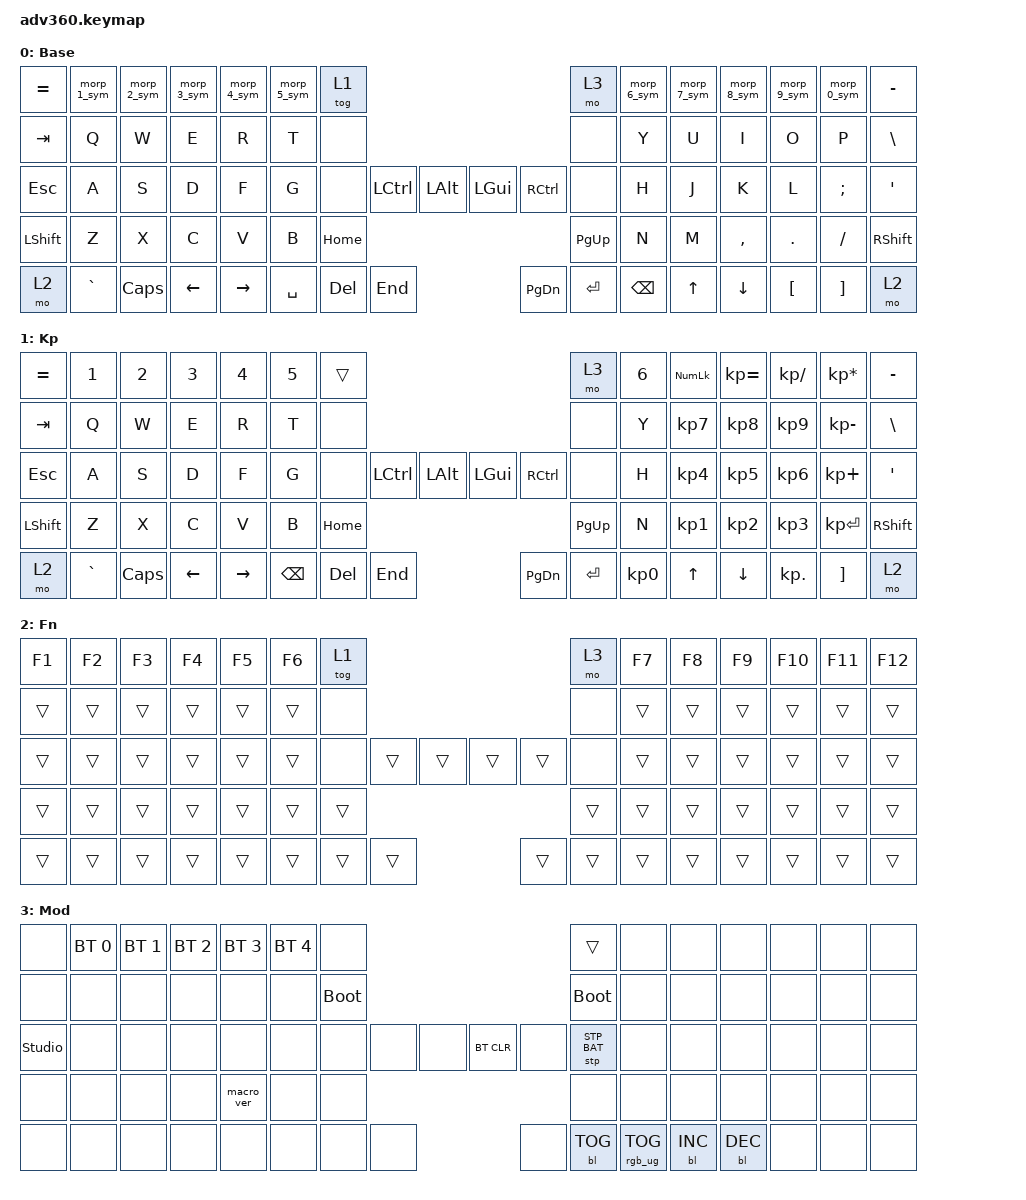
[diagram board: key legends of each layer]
#include <behaviors.dtsi>
#include <dt-bindings/zmk/keys.h>
#include <dt-bindings/zmk/bt.h>
#include <dt-bindings/zmk/rgb.h>
#include <dt-bindings/zmk/stp.h>
#include <dt-bindings/zmk/backlight.h>
#include <dt-bindings/zmk/pointing.h>

/ {
    behaviors {
      #include "macros.dtsi"
      #include "version.dtsi"

      hm: homerow_mods {
          compatible = "zmk,behavior-hold-tap";
          label = "HOMEROW_MODS";
          #binding-cells = <2>;
          tapping-term-ms = <200>;
          quick_tap_ms = <175>;
          flavor = "tap-preferred";
          bindings = <&kp>, <&kp>;
      };

      // --- Modern mod-morph behaviors for swapping symbols and numbers ---
      morp_1_sym: morp_1_sym {
          compatible = "zmk,behavior-mod-morph";
          #binding-cells = <0>;
          bindings = <&kp EXCLAMATION>, <&kp N1>;
          mods = <(MOD_LSFT | MOD_RSFT)>;
      };
      morp_2_sym: morp_2_sym {
          compatible = "zmk,behavior-mod-morph";
          #binding-cells = <0>;
          bindings = <&kp AT>, <&kp N2>;
          mods = <(MOD_LSFT | MOD_RSFT)>;
      };
      morp_3_sym: morp_3_sym {
          compatible = "zmk,behavior-mod-morph";
          #binding-cells = <0>;
          bindings = <&kp HASH>, <&kp N3>;
          mods = <(MOD_LSFT | MOD_RSFT)>;
      };
      morp_4_sym: morp_4_sym {
          compatible = "zmk,behavior-mod-morph";
          #binding-cells = <0>;
          bindings = <&kp DLLR>, <&kp N4>;
          mods = <(MOD_LSFT | MOD_RSFT)>;
      };
      morp_5_sym: morp_5_sym {
          compatible = "zmk,behavior-mod-morph";
          #binding-cells = <0>;
          bindings = <&kp PERCENT>, <&kp N5>;
          mods = <(MOD_LSFT | MOD_RSFT)>;
      };
      morp_6_sym: morp_6_sym {
          compatible = "zmk,behavior-mod-morph";
          #binding-cells = <0>;
          bindings = <&kp CARET>, <&kp N6>;
          mods = <(MOD_LSFT | MOD_RSFT)>;
      };
      morp_7_sym: morp_7_sym {
          compatible = "zmk,behavior-mod-morph";
          #binding-cells = <0>;
          bindings = <&kp AMPS>, <&kp N7>;
          mods = <(MOD_LSFT | MOD_RSFT)>;
      };
      morp_8_sym: morp_8_sym {
          compatible = "zmk,behavior-mod-morph";
          #binding-cells = <0>;
          bindings = <&kp STAR>, <&kp N8>;
          mods = <(MOD_LSFT | MOD_RSFT)>;
      };
      morp_9_sym: morp_9_sym {
          compatible = "zmk,behavior-mod-morph";
          #binding-cells = <0>;
          bindings = <&kp LPAR>, <&kp N9>;
          mods = <(MOD_LSFT | MOD_RSFT)>;
      };
      morp_0_sym: morp_0_sym {
          compatible = "zmk,behavior-mod-morph";
          #binding-cells = <0>;
          bindings = <&kp RPAR>, <&kp N0>;
          mods = <(MOD_LSFT | MOD_RSFT)>;
      };
    };

  keymap {
    compatible = "zmk,keymap";

    default_layer {
      display-name = "Base";
      bindings = <
        &kp EQUAL &morp_1_sym &morp_2_sym &morp_3_sym &morp_4_sym &morp_5_sym &tog 1                                                &mo 3 &morp_6_sym &morp_7_sym &morp_8_sym &morp_9_sym &morp_0_sym &kp MINUS
        &kp TAB   &kp Q       &kp W       &kp E       &kp R       &kp T        &none                                                 &none &kp Y        &kp U       &kp I       &kp O       &kp P       &kp BSLH
        &kp ESC   &kp A       &kp S       &kp D       &kp F       &kp G        &none           &kp LCTRL &kp LALT &kp LGUI &kp RCTRL &none &kp H        &kp J       &kp K       &kp L       &kp SEMI   &kp SQT
        &kp LSHFT &kp Z       &kp X       &kp C       &kp V       &kp B                            &kp HOME &kp PG_UP                        &kp N        &kp M       &kp COMMA  &kp DOT    &kp FSLH   &kp RSHFT
        &mo 2     &kp GRAVE   &kp CAPS    &kp LEFT    &kp RIGHT                &kp SPACE &kp DEL &kp END  &kp PG_DN &kp ENTER &kp BSPC                    &kp UP      &kp DOWN   &kp LBKT  &kp RBKT  &mo 2
      >;
    };

    keypad {
      display-name = "Kp";
      bindings = <
        &kp EQUAL &kp N1    &kp N2   &kp N3   &kp N4     &kp N5 &trans                                                           &mo 3 &kp N6 &kp KP_NUM &kp KP_EQUAL &kp KP_DIVIDE &kp KP_MULTIPLY &kp MINUS
        &kp TAB   &kp Q     &kp W    &kp E    &kp R      &kp T  &none                                                            &none &kp Y  &kp KP_N7  &kp KP_N8    &kp KP_N9     &kp KP_MINUS    &kp BSLH
        &kp ESC   &kp A     &kp S    &kp D    &kp F      &kp G  &none           &kp LCTRL &kp LALT &kp LGUI  &kp RCTRL           &none &kp H  &kp KP_N4  &kp KP_N5    &kp KP_N6     &kp KP_PLUS     &kp SQT
        &kp LSHFT &kp Z     &kp X    &kp C    &kp V      &kp B                            &kp HOME &kp PG_UP                           &kp N  &kp KP_N1  &kp KP_N2    &kp KP_N3     &kp KP_ENTER    &kp RSHFT
        &mo 2     &kp GRAVE &kp CAPS &kp LEFT &kp RIGHT                &kp BSPC &kp DEL   &kp END  &kp PG_DN &kp ENTER &kp KP_N0              &kp UP     &kp DOWN     &kp KP_DOT    &kp RBKT        &mo 2
      >;
    };

    fn {
      display-name = "Fn";
      bindings = <
        &kp F1 &kp F2 &kp F3 &kp F4 &kp F5 &kp F6 &tog 1                                           &mo 3 &kp F7 &kp F8 &kp F9 &kp F10 &kp F11 &kp F12
        &trans &trans &trans &trans &trans &trans  &none                                           &none &trans &trans &trans &trans  &trans  &trans
        &trans &trans &trans &trans &trans &trans  &none        &trans &trans &trans &trans        &none &trans &trans &trans &trans  &trans  &trans
        &trans &trans &trans &trans &trans &trans                      &trans &trans                     &trans &trans &trans &trans  &trans  &trans
        &trans &trans &trans &trans &trans               &trans &trans &trans &trans &trans &trans              &trans &trans &trans  &trans  &trans
      >;
    };

    mod {
      display-name = "Mod";
      bindings = <
        &none &bt BT_SEL 0 &bt BT_SEL 1 &bt BT_SEL 2 &bt BT_SEL 3 &bt BT_SEL 4 &none                                                                     &trans                 &none        &none        &none        &none &none &none
        &none &none        &none        &none        &none        &none        &bootloader                                                               &bootloader            &none        &none        &none        &none &none &none
        &studio_unlock &none        &none        &none        &none        &none        &none                   &none &none &bt BT_CLR &none                      &stp STP_BAT &none        &none        &none        &none &none &none
        &none &none        &none        &none        &macro_ver   &none                                      &none &none                                                        &none        &none        &none        &none &none &none
        &none &none        &none        &none        &none                                       &none &none &none &none      &bl BL_TOG &rgb_ug RGB_TOG                                     &bl BL_INC   &bl BL_DEC   &none &none &none
      >;
    };

    extra1 { display-name = "Red"; status = "reserved"; };
    extra2 { display-name = "Purple"; status = "reserved"; };
    extra3 { display-name = "Cyan"; status = "reserved"; };
    extra4 { display-name = "Yellow"; status = "reserved"; };
  };
};
